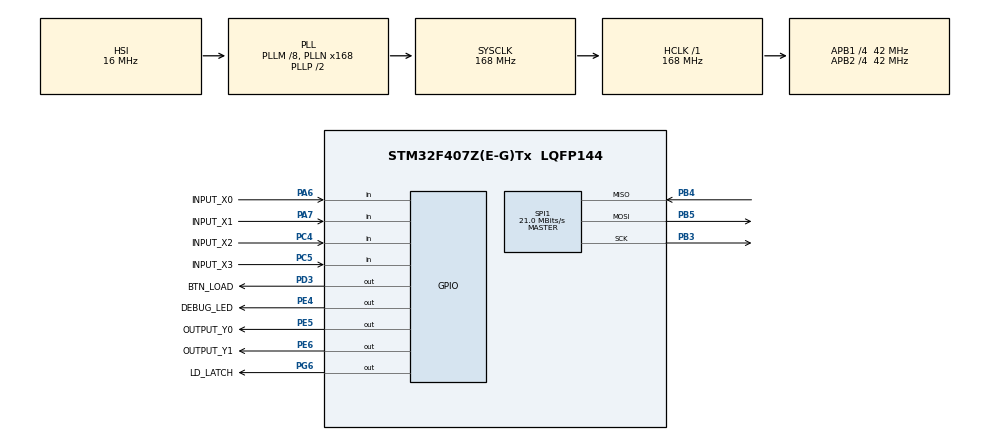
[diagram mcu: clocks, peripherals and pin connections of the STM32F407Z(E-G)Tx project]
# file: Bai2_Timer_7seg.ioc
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Mcu.Family=STM32F4
Mcu.Name=STM32F407Z(E-G)Tx
Mcu.Package=LQFP144
NVIC.PriorityGroup=NVIC_PRIORITYGROUP_4
NVIC.TIM2_IRQn=true\:0\:0\:false\:false\:true\:true\:true
PA13.Mode=Serial_Wire
PA13.Signal=SYS_JTMS-SWDIO
PA14.Mode=Serial_Wire
PA14.Signal=SYS_JTCK-SWCLK
PA6.GPIO_Label=INPUT_X0
PA6.Signal=GPIO_Input
PA7.GPIO_Label=INPUT_X1
PA7.Signal=GPIO_Input
PB3.Mode=Full_Duplex_Master
PB3.Signal=SPI1_SCK
PB4.Mode=Full_Duplex_Master
PB4.Signal=SPI1_MISO
PB5.Mode=Full_Duplex_Master
PB5.Signal=SPI1_MOSI
PC4.GPIO_Label=INPUT_X2
PC4.Signal=GPIO_Input
PC5.GPIO_Label=INPUT_X3
PC5.Signal=GPIO_Input
PD3.GPIO_Label=BTN_LOAD
PD3.Signal=GPIO_Output
PE4.GPIO_Label=DEBUG_LED
PE4.Signal=GPIO_Output
PE5.GPIO_Label=OUTPUT_Y0
PE5.Signal=GPIO_Output
PE6.GPIO_Label=OUTPUT_Y1
PE6.Signal=GPIO_Output
PG6.GPIO_Label=LD_LATCH
PG6.Signal=GPIO_Output
PH0-OSC_IN.Mode=HSE-External-Oscillator
PH0-OSC_IN.Signal=RCC_OSC_IN
PH1-OSC_OUT.Mode=HSE-External-Oscillator
PH1-OSC_OUT.Signal=RCC_OSC_OUT
ProjectManager.HeapSize=0x200
ProjectManager.StackSize=0x400
ProjectManager.TargetToolchain=STM32CubeIDE
RCC.48MHZClocksFreq_Value=84000000
RCC.AHBFreq_Value=168000000
RCC.APB1CLKDivider=RCC_HCLK_DIV4
RCC.APB1Freq_Value=42000000
RCC.APB1TimFreq_Value=84000000
RCC.APB2CLKDivider=RCC_HCLK_DIV4
RCC.APB2Freq_Value=42000000
RCC.APB2TimFreq_Value=84000000
RCC.CortexFreq_Value=168000000
RCC.HCLKFreq_Value=168000000
RCC.HSE_VALUE=8000000
RCC.HSI_VALUE=16000000
RCC.LSE_VALUE=32768
RCC.PLLM=8
RCC.PLLN=168
RCC.SYSCLKFreq_VALUE=168000000
RCC.SYSCLKSource=RCC_SYSCLKSOURCE_PLLCLK
RCC.VCOOutputFreq_Value=336000000
SPI1.CalculateBaudRate=21.0 MBits/s
SPI1.Direction=SPI_DIRECTION_2LINES
SPI1.Mode=SPI_MODE_MASTER
SPI1.VirtualType=VM_MASTER
TIM2.Period=200-1
TIM2.Prescaler=840-1
VP_TIM2_VS_ClockSourceINT.Mode=Internal
board=custom

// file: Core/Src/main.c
/* USER CODE BEGIN Header */
/**
  ******************************************************************************
  * @file           : main.c
  * @brief          : Main program body
  ******************************************************************************
  * @attention
  *
  * <h2><center>&copy; Copyright (c) 2024 STMicroelectronics.
  * All rights reserved.</center></h2>
  *
  * This software component is licensed by ST under BSD 3-Clause license,
  * the "License"; You may not use this file except in compliance with the
  * License. You may obtain a copy of the License at:
  *                        opensource.org/licenses/BSD-3-Clause
  *
  ******************************************************************************
/* USER CODE END Header */
#include "main.h"
#include "spi.h"
#include "tim.h"
#include "gpio.h"

/* USER CODE BEGIN Includes */
#include "software_timer.h"
#include "led_7seg.h"
/* USER CODE END Includes */

SPI_HandleTypeDef hspi1;

TIM_HandleTypeDef htim2;

void SystemClock_Config(void);
/* USER CODE BEGIN PFP */
void system_init();
void test_LedDebug();
void test_LedY0();
void test_LedY1();
void test_7seg();
/* USER CODE END PFP */

/* USER CODE BEGIN 0 */

enum traffic_led_state{
	LED_RED,
	LED_GREEN,
	LED_YELLOW
};

/* USER CODE END 0 */

int main(void)
{

  /* MCU Configuration--------------------------------------------------------*/

  /* Reset of all peripherals, Initializes the Flash interface and the Systick. */
  HAL_Init();

  /* Configure the system clock */
  SystemClock_Config();

  /* Initialize all configured peripherals */
  MX_GPIO_Init();
  MX_TIM2_Init();
  MX_SPI1_Init();
  /* USER CODE BEGIN 2 */
  system_init();
  enum traffic_led_state current_state = LED_RED;

  /* USER CODE END 2 */

  /* Infinite loop */
  /* USER CODE BEGIN WHILE */
  while (1)
  {
	  HAL_GPIO_WritePin(DEBUG_LED_GPIO_Port, DEBUG_LED_Pin, 0);
	  HAL_GPIO_WritePin(OUTPUT_Y0_GPIO_Port, OUTPUT_Y0_Pin, 0);
	  HAL_GPIO_WritePin(OUTPUT_Y1_GPIO_Port, OUTPUT_Y1_Pin, 0);
	  switch(current_state){
	  case LED_RED:
		  HAL_GPIO_WritePin(DEBUG_LED_GPIO_Port, DEBUG_LED_Pin, 1);
		  if(timer2_flag){
			  setTimer2(3000);
			  current_state = LED_GREEN;
		  }
		  break;
	  case LED_GREEN:
		  HAL_GPIO_WritePin(OUTPUT_Y0_GPIO_Port, OUTPUT_Y1_Pin, 1);
		  if(timer2_flag){
			  setTimer2(1000);
			  current_state = LED_YELLOW;
		  }
		  break;
	  case LED_YELLOW:
		  HAL_GPIO_WritePin(OUTPUT_Y1_GPIO_Port, OUTPUT_Y1_Pin, 1);
		  if(timer2_flag){
			  setTimer2(5000);
			  current_state = LED_RED;
		  }
		  break;
	  }
    /* USER CODE END WHILE */

  }
}

void SystemClock_Config(void)
{
  RCC_OscInitTypeDef RCC_OscInitStruct = {0};
  RCC_ClkInitTypeDef RCC_ClkInitStruct = {0};

  /** Configure the main internal regulator output voltage
  */
  __HAL_RCC_PWR_CLK_ENABLE();
  __HAL_PWR_VOLTAGESCALING_CONFIG(PWR_REGULATOR_VOLTAGE_SCALE1);
  /** Initializes the RCC Oscillators according to the specified parameters
  * in the RCC_OscInitTypeDef structure.
  */
  RCC_OscInitStruct.OscillatorType = RCC_OSCILLATORTYPE_HSI;
  RCC_OscInitStruct.HSIState = RCC_HSI_ON;
  RCC_OscInitStruct.HSICalibrationValue = RCC_HSICALIBRATION_DEFAULT;
  RCC_OscInitStruct.PLL.PLLState = RCC_PLL_ON;
  RCC_OscInitStruct.PLL.PLLSource = RCC_PLLSOURCE_HSI;
  RCC_OscInitStruct.PLL.PLLM = 8;
  RCC_OscInitStruct.PLL.PLLN = 168;
  RCC_OscInitStruct.PLL.PLLP = RCC_PLLP_DIV2;
  RCC_OscInitStruct.PLL.PLLQ = 4;
  if (HAL_RCC_OscConfig(&RCC_OscInitStruct) != HAL_OK)
  {
    Error_Handler();
  }
  /** Initializes the CPU, AHB and APB buses clocks
  */
  RCC_ClkInitStruct.ClockType = RCC_CLOCKTYPE_HCLK|RCC_CLOCKTYPE_SYSCLK
                              |RCC_CLOCKTYPE_PCLK1|RCC_CLOCKTYPE_PCLK2;
  RCC_ClkInitStruct.SYSCLKSource = RCC_SYSCLKSOURCE_PLLCLK;
  RCC_ClkInitStruct.AHBCLKDivider = RCC_SYSCLK_DIV1;
  RCC_ClkInitStruct.APB1CLKDivider = RCC_HCLK_DIV4;
  RCC_ClkInitStruct.APB2CLKDivider = RCC_HCLK_DIV4;

  if (HAL_RCC_ClockConfig(&RCC_ClkInitStruct, FLASH_LATENCY_5) != HAL_OK)
  {
    Error_Handler();
  }
}

/* USER CODE BEGIN 4 */
void system_init(){
	  HAL_GPIO_WritePin(OUTPUT_Y0_GPIO_Port, OUTPUT_Y0_Pin, 0);
	  HAL_GPIO_WritePin(OUTPUT_Y1_GPIO_Port, OUTPUT_Y1_Pin, 0);
	  HAL_GPIO_WritePin(DEBUG_LED_GPIO_Port, DEBUG_LED_Pin, 0);
	  timer_init();
	  led7_init();
	  setTimer2(5000);
}
/* USER CODE END 4 */

void Error_Handler(void)
{
  __disable_irq();
  while (1)
  {
  }
}

/************************ (C) COPYRIGHT STMicroelectronics *****END OF FILE****/
